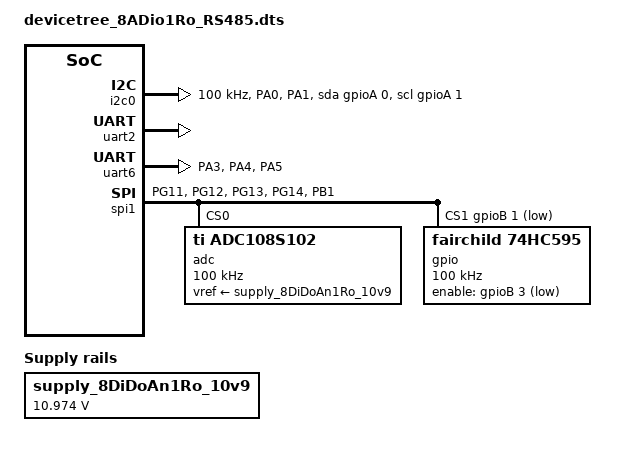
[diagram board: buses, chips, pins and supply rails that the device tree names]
/dts-v1/;

#include "foxiot_wolf.dts"

&aliases {
	i2c0 = &i2c0;
};

&uart2 {
	status = "okay";
};

&uart6 {
	pinctrl-names = "default";
	pinctrl-0 = <&pinctrl_uart6>;
	linux,rs485-enabled-at-boot-time;
	status = "okay";
};

&uart8 {
	status = "disabled";
};

/ {
	i2c0: i2c0 {
		compatible = "i2c-gpio";
		scl-gpios = <&gpioA 1 (GPIO_ACTIVE_HIGH|GPIO_OPEN_DRAIN)>;
		sda-gpios = <&gpioA 0 (GPIO_ACTIVE_HIGH|GPIO_OPEN_DRAIN)>;
		clock-frequency = <100000>;
		pinctrl-0 = <&pinctrl_i2c0>;
		pinctrl-names = "default";
		#address-cells = <1>;
		#size-cells = <0>;
	};
	
	supply_8DiDoAn1Ro_10v9: supply_8DiDoAn1Ro_10v9 {
		compatible = "regulator-fixed";
		regulator-name = "supply-8DiDoAn1Ro-10v";
		regulator-min-microvolt = <10974419>;
		regulator-max-microvolt = <10974419>;
		regulator-always-on;
	};
};

&spi1 {
	num-cs = <1>;
	pinctrl-names = "default";
	pinctrl-0 = <&pinctrl_spi1>;
	cs-gpios = <0>, <&gpioB 1 GPIO_ACTIVE_LOW>;
	status = "okay";
	adc@0 {
		compatible = "ti,adc108s102";
		reg = <0>;
		spi-max-frequency = <100000>;
		vref-supply = <&supply_8DiDoAn1Ro_10v9>;
	};
	gpio@1 {
		compatible = "fairchild,74hc595";
		reg = <1>;
		gpio-controller;
		#gpio-cells = <2>;
		registers-number = <1>;
		spi-max-frequency = <100000>;
		enable-gpios = <&gpioB 3 GPIO_ACTIVE_LOW>;
	};
};

&pinctrl_default {
	8dio {
		pins = "PB6", "PB4", "PB7", "PB5", "PF1", "PF0", "PF2", "PF3";
		function = "mfp0";
		input-schmitt-enable = <1>;
	};
};

&pinctrl {
	pinctrl_uart6: pinctrl_uart6 {
		pins = "PA3", "PA4", "PA5";
		function = "mfp1";
		bias-pull-up;
	};
	pinctrl_spi1: pinctrl_spi1 {
		spi {
			pins = "PG11", "PG12", "PG13", "PG14";
			function = "mfp2";
		};
		cs1 {
			pins = "PB1";
			function = "mfp0";
		};
	};
	pinctrl_i2c0: pinctrl_i2c0 {
		pins = "PA0", "PA1";
		function = "mfp0";
		drive-open-drain;
	};
};

&flash {
	/delete-node/ ubi;
	ubi0: ubi@2040000 {
		label = "ubi0";
		reg = <0x2040000 0x800000>;
	};
	ubi1: ubi@2840000 {
		label = "ubi1";
		reg = <0x2840000 0x57c0000>;
	};
};

